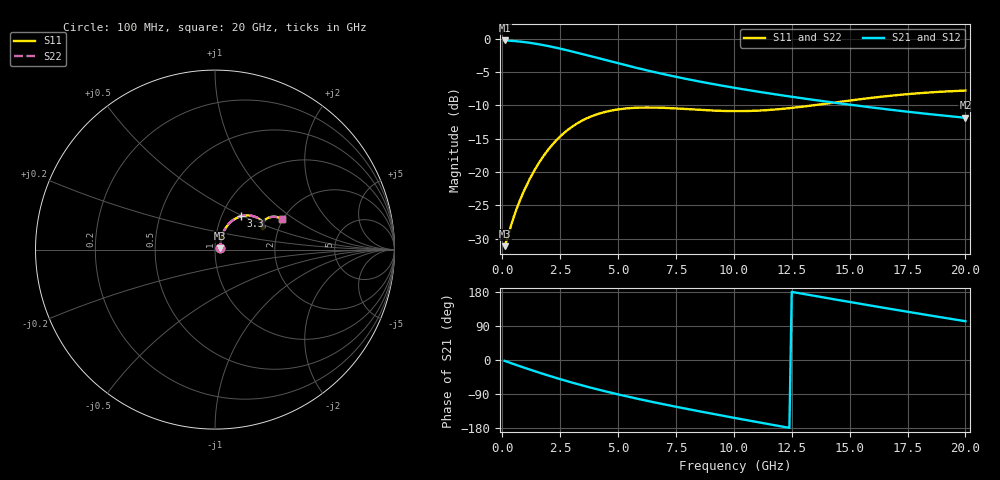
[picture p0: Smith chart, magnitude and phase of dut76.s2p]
! Touchstone file exported from HFSS 2024.1.0
!  File:  C:/UserFiles/LocalFiles/RDL_TSV_Batchsim/temp_RDL_TSV_76_1779413218.aedt
!  Generated:  09:43:54 AM May 22, 2026
!  Design:  RDL_TSV
!  Project:  temp_RDL_TSV_76_1779413218
!  Setup:  Setup1
!  Solution:  Sweep
! Variables:
!  dtsv = 7.73um
!  hbump = 3um
!  htsv = 83.76um
!  ldown = 470.78um
!  lrdl = 572.19um
!  p = 40
!  p1 = 56.11um
!  rhole = 10um
!  subl = 3701.1um
!  t = 450um
!  tdown = 3.49um
!  trdl = 2.16um
!  viad = 10um
!  wdown = 19.5um
!  wrdl = 20.04um
!  xbump = 18um
# GHz S MA R 50.000000
! Terminal data exported
! Port[1] = TM1_1_T1
! Port[2] = TM1_4_T1
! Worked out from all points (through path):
!   200 points, 100 MHz to 20 GHz, reference 50 ohm
!   highest |S21| = -0.24 dB at 100 MHz (marker M1); lowest = -11.8 dB at 20 GHz (marker M2)
!   group delay of S21, straight-line fit = 33.9 ps
!   lowest |S11| = -31.1 dB at 100 MHz (marker M3), VSWR 1.06, Z = 52.7 + j0.787 ohm
!   |S11| at or under -10 dB: start of sweep to 13.38 GHz
!   |S22| runs from -31.1 to -7.8 dB; largest |S21 - S12| = 1.1e-14
!   S11 on the Smith chart (normalised r, x): 100 MHz: 1.05, +0.02; 3.3 GHz: 1.23, +0.49; 20 GHz: 1.97, +0.80
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0.1  0.02778 15.6  0.973 -2.2  0.973 -2.2  0.02778 15.6
! Gamma 0 0 0 0
! Port Impedance 50 0 50 0
0.5  0.04629 48.1  0.964 -10.9  0.964 -10.9  0.04628 48.1
0.7  0.05766 54.8  0.9568 -15.2  0.9568 -15.2  0.05765 54.8
1.1  0.08297 61.8  0.9386 -23.5  0.9386 -23.5  0.08297 61.9
1.5  0.1112 64.1  0.9158 -31.5  0.9158 -31.5  0.1112 64.1
1.9  0.1411 63.4  0.8892 -39.4  0.8892 -39.4  0.1411 63.4
2.4  0.178 60.3  0.8523 -48.7  0.8523 -48.7  0.1781 60.3
2.8  0.2056 56.8  0.8212 -55.9  0.8212 -55.9  0.2056 56.9
3.3  0.2357 52.0  0.7817 -64.5  0.7817 -64.5  0.2358 52.0
3.5  0.2461 50.0  0.766 -67.8  0.766 -67.8  0.2462 50.0
4.2  0.2753 43.3  0.7125 -78.9  0.7125 -78.9  0.2754 43.3
5.1  0.297 35.8  0.6493 -92.2  0.6493 -92.2  0.2972 35.9
5.9  0.3046 30.6  0.5998 -103.1  0.5998 -103.1  0.3048 30.6
6.8  0.3044 26.4  0.5516 -114.7  0.5516 -114.7  0.3046 26.4
8.4  0.294 23.2  0.4827 -134.1  0.4827 -134.1  0.2943 23.2
10.1  0.2868 24.6  0.4269 -153.6  0.4269 -153.6  0.287 24.6
11.7  0.2941 27.9  0.3855 -171.4  0.3855 -171.4  0.2942 27.8
13.4  0.3165 30.4  0.3493 170.1  0.3493 170.1  0.3166 30.4
15  0.3444 30.8  0.3206 153.1  0.3206 153.1  0.3444 30.8
16.7  0.3731 29.4  0.2946 135.5  0.2946 135.5  0.373 29.4
18.3  0.3945 27.1  0.274 119.2  0.274 119.2  0.3942 27.1
20  0.4091 24.3  0.2558 102.3  0.2558 102.3  0.4086 24.3
